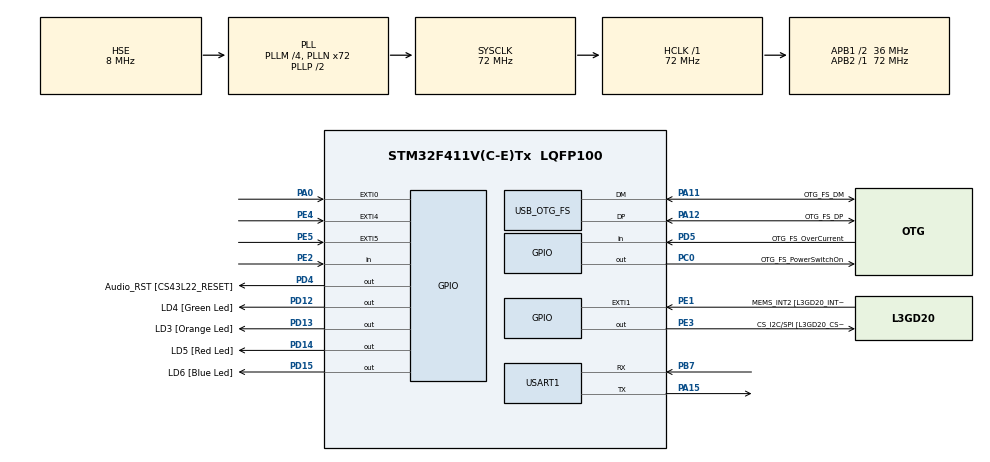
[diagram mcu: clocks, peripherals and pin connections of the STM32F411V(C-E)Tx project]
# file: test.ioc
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Mcu.Family=STM32F4
PD12.GPIO_Label=LD4 [Green Led]
USB_DEVICE.CLASS_NAME_FS=CDC
RCC.CortexFreq_Value=72000000
PC10.GPIO_PuPd=GPIO_NOPULL
PB6.GPIO_Mode=GPIO_MODE_AF_OD
PD15.GPIO_Speed=GPIO_SPEED_FREQ_LOW
PC10.Signal=I2S3_CK
PC12.Signal=I2S3_SD
PA14.GPIO_Label=SWCLK
PC0.GPIO_Label=OTG_FS_PowerSwitchOn
PA11.Mode=Device_Only
PA6.GPIO_Label=SPI1_MISO [L3GD20_AS0/SDO]
PB6.GPIO_Label=Audio_SCL [CS43L22_SCL]
PC10.GPIO_Speed=GPIO_SPEED_FREQ_LOW
PC15-OSC32_OUT.GPIO_Label=PC15-OSC32_OUT
RCC.SYSCLKSource=RCC_SYSCLKSOURCE_PLLCLK
ProjectManager.StackSize=0x400
VP_FREERTOS_VS_CMSIS_V2.Mode=CMSIS_V2
PD13.Signal=GPIO_Output
PD14.GPIO_Speed=GPIO_SPEED_FREQ_LOW
PA12.Signal=USB_OTG_FS_DP
PH0\ -\ OSC_IN.Signal=RCC_OSC_IN
RCC.HCLKFreq_Value=72000000
PD4.Signal=GPIO_Output
RCC.APB2TimFreq_Value=72000000
PB6.Signal=I2C1_SCL
PC7.Signal=I2S3_MCK
PC3.Signal=I2S2_SD
PE5.Signal=GPXTI5
PE1.Signal=GPXTI1
RCC.AHBFreq_Value=72000000
NVIC.TIM1_TRG_COM_TIM11_IRQn=true\:0\:0\:false\:false\:true\:false\:false\:true
RCC.HSE_VALUE=8000000
PA4.GPIO_PuPd=GPIO_NOPULL
PA15.Mode=Asynchronous
PA4.GPIO_Speed=GPIO_SPEED_FREQ_LOW
PA14.Mode=Serial_Wire
PA10.GPIO_Label=OTG_FS_ID
PC7.GPIO_Mode=GPIO_MODE_AF_PP
PE2.Signal=GPIO_Input
PB7.Signal=USART1_RX
PD14.GPIO_PuPd=GPIO_NOPULL
PE4.Signal=GPXTI4
PD13.GPIO_Label=LD3 [Orange Led]
Mcu.Package=LQFP100
PB9.Signal=I2C1_SDA
PA6.Signal=SPI1_MISO
NVIC.TimeBase=TIM1_TRG_COM_TIM11_IRQn
PD12.Signal=GPIO_Output
PD5.GPIO_Label=OTG_FS_OverCurrent
NVIC.OTG_FS_IRQn=true\:5\:0\:false\:false\:true\:true\:false\:true
PD15.GPIO_PuPd=GPIO_NOPULL
NVIC.TimeBaseIP=TIM11
PA10.Signal=USB_OTG_FS_ID
PB9.GPIO_PuPd=GPIO_NOPULL
USB_OTG_FS.VirtualMode=Device_Only
PA15.Signal=USART1_TX
PB9.GPIO_Speed=GPIO_SPEED_FREQ_LOW
RCC.APB1TimFreq_Value=72000000
PC14-OSC32_IN.GPIO_Label=PC14-OSC32_IN
PC12.GPIO_PuPd=GPIO_NOPULL
PA4.GPIO_Label=I2S3_WS [CS43L22_LRCK]
PD15.Signal=GPIO_Output
PC0.PinState=GPIO_PIN_SET
PB3.GPIO_Label=SWO
PD12.GPIO_Speed=GPIO_SPEED_FREQ_LOW
FREERTOS.Tasks01=defaultTask,24,128,StartDefaultTask,Default,NULL,Dynamic,NULL,NULL
PD15.GPIO_Label=LD6 [Blue Led]
PB9.GPIO_Label=Audio_SDA [CS43L22_SDA]
PC10.GPIO_Label=I2S3_SCK [CS43L22_SCLK]
USB_DEVICE.VirtualModeFS=Cdc_FS
PA9.GPIO_Label=VBUS_FS
PB6.GPIO_PuPd=GPIO_NOPULL
PH1\ -\ OSC_OUT.Mode=HSE-External-Oscillator
PE4.GPIO_ModeDefaultEXTI=GPIO_MODE_EVT_RISING
PA11.GPIO_Label=OTG_FS_DM
PD5.Signal=GPIO_Input
PC0.Signal=GPIO_Output
PE1.GPIO_ModeDefaultEXTI=GPIO_MODE_EVT_RISING
RCC.APB1CLKDivider=RCC_HCLK_DIV2
PC14-OSC32_IN.Signal=RCC_OSC32_IN
PA0-WKUP.GPIO_ModeDefaultEXTI=GPIO_MODE_IT_RISING_FALLING
PA12.GPIO_Label=OTG_FS_DP
PA0-WKUP.Signal=GPXTI0
PA13.Signal=SYS_JTMS-SWDIO
PC10.GPIO_Mode=GPIO_MODE_AF_PP
PH0\ -\ OSC_IN.Mode=HSE-External-Oscillator
ProjectManager.TargetToolchain=STM32CubeIDE
PE5.GPIO_ModeDefaultEXTI=GPIO_MODE_EVT_RISING
PB10.GPIO_Label=CLK_IN [MP45DT02_CLK]
VP_USB_DEVICE_VS_USB_DEVICE_CDC_FS.Mode=CDC_FS
PA9.Signal=USB_OTG_FS_VBUS
PC7.GPIO_PuPd=GPIO_NOPULL
RCC.LSE_VALUE=32768
PC15-OSC32_OUT.Signal=RCC_OSC32_OUT
PB10.Signal=I2S2_CK
PA5.Signal=SPI1_SCK
PH1\ -\ OSC_OUT.Signal=RCC_OSC_OUT
board=STM32F411E-DISCO
PD13.GPIO_Speed=GPIO_SPEED_FREQ_LOW
PC7.GPIO_Speed=GPIO_SPEED_FREQ_LOW
RCC.VCOOutputFreq_Value=144000000
PE1.GPIO_Label=MEMS_INT2 [L3GD20_INT2]
PB9.GPIO_Mode=GPIO_MODE_AF_OD
PA4.GPIO_Mode=GPIO_MODE_AF_PP
RCC.APB2Freq_Value=72000000
PD4.GPIO_Label=Audio_RST [CS43L22_RESET]
PD13.GPIO_PuPd=GPIO_NOPULL
PD14.GPIO_Label=LD5 [Red Led]
PA13.Mode=Serial_Wire
Mcu.Name=STM32F411V(C-E)Tx
VP_SYS_VS_tim11.Mode=TIM11
PA13.GPIO_Label=SWDIO
PC7.GPIO_Label=I2S3_MCK [CS43L22_MCLK]
PD14.Signal=GPIO_Output
PH1\ -\ OSC_OUT.GPIO_Label=PH1-OSC_OUT
RCC.48MHZClocksFreq_Value=48000000
PB3.Signal=SYS_JTDO-SWO
NVIC.EXTI0_IRQn=true\:5\:0\:false\:false\:true\:true\:true\:true
PA4.Signal=I2S3_WS
RCC.SYSCLKFreq_VALUE=72000000
PC12.GPIO_Mode=GPIO_MODE_AF_PP
PA7.GPIO_Label=SPI1_MOSI [L3GD20_SDA/SDI/SDO]
PA12.Mode=Device_Only
PA5.GPIO_Label=SPI1_SCK [L3GD20_SC/SPC]
PC12.GPIO_Label=I2S3_SD [CS43L22_SDIN]
USART1.VirtualMode=VM_ASYNC
PA11.Signal=USB_OTG_FS_DM
PB7.Mode=Asynchronous
PA14.Signal=SYS_JTCK-SWCLK
ProjectManager.HeapSize=0x200
RCC.HSI_VALUE=16000000
RCC.PLLQ=3
NVIC.PriorityGroup=NVIC_PRIORITYGROUP_4
RCC.PLLM=4
RCC.PLLN=72
PE3.Signal=GPIO_Output
PE3.GPIO_Label=CS_I2C/SPI [L3GD20_CS_I2C/SPI]
PC3.GPIO_Label=PDM_OUT [MP45DT02_DOUT]
PH0\ -\ OSC_IN.GPIO_Label=PH0-OSC_IN
PB6.GPIO_Speed=GPIO_SPEED_FREQ_LOW
RCC.APB1Freq_Value=36000000
PC12.GPIO_Speed=GPIO_SPEED_FREQ_LOW
USB_DEVICE.VirtualMode=Cdc
RCC.PLLI2SN=200
PB12.Signal=I2S2_WS
PD12.GPIO_PuPd=GPIO_NOPULL
RCC.PLLI2SM=5
PA7.Signal=SPI1_MOSI

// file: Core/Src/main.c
/* USER CODE BEGIN Header */

/*
  */
/* USER CODE END Header */
#include "main.h"
#include "cmsis_os.h"
#include "usb_device.h"

/* USER CODE BEGIN Includes */
#include <stdio.h>
#include <stdlib.h>
#include "FreeRTOS.h"
#include "queue.h"
#include "timers.h"
#include "string.h"
#include "task.h"
#include "usbd_cdc_if.h"
#include "stm32f411e_discovery.h"
#include "morse.h"

/* USER CODE END Includes */

UART_HandleTypeDef huart1;

/* Definitions for task_1 */
osThreadId_t task_1Handle;
const osThreadAttr_t task_1_attributes = {
  .name = "task_1",
  .priority = (osPriority_t) osPriorityHigh,
  .stack_size = 1024 * 4
};
/* Definitions for task_2 */
osThreadId_t task_2Handle;
const osThreadAttr_t task_2_attributes = {
  .name = "task_2",
  .priority = (osPriority_t) osPriorityHigh,
  .stack_size = 1024 * 4
};
/* Definitions for task_3 */
osThreadId_t task_3Handle;
const osThreadAttr_t task_3_attributes = {
  .name = "task_3",
  .priority = (osPriority_t) osPriorityHigh,
  .stack_size = 512 * 4
};
/* Definitions for task_4 */
osThreadId_t task_4Handle;
const osThreadAttr_t task_4_attributes = {
  .name = "task_4",
  .priority = (osPriority_t) osPriorityHigh,
  .stack_size = 512 * 4
};

osThreadId_t uartRxHandle;
const osThreadAttr_t uartrx_attributes = {
  .name = "uartrx",
  .priority = (osPriority_t) osPriorityHigh,
  .stack_size = 128
};

/* Definitions for queue_1 */
osMessageQueueId_t queue_1Handle;
const osMessageQueueAttr_t queue_1_attributes = {
  .name = "queue_1"
};
/* Definitions for queue_2_1 */
osMessageQueueId_t queue_2_1Handle;
const osMessageQueueAttr_t queue_2_1_attributes = {
  .name = "queue_2_1"
};
/* Definitions for queue_2_2 */
osMessageQueueId_t queue_2_2Handle;
const osMessageQueueAttr_t queue_2_2_attributes = {
  .name = "queue_2_2"
};

/* USER CODE BEGIN PV */
uint32_t time;
uint32_t prev_time;
/* USER CODE BEGIN PV */
/* USER CODE END PV */

uint8_t done = 0;

void SystemClock_Config(void);
static void MX_GPIO_Init(void);
static void MX_USART1_UART_Init(void);
void StartDefaultTask(void *argument);

/* USER CODE BEGIN PFP */
void StartDefaultTask(void *argument);
void StartTask02(void *argument);
void StartTask03(void *argument);
void StartTask04(void *argument);
void UARTTask(void *argument);
void UART_transmit(uint8_t *buff, uint16_t len);
/* USER CODE END PFP */

/* USER CODE BEGIN 0 */
int _write(int file, char *ptr, int len)
{
	int i =0;
	taskENTER_CRITICAL();
	for(i=0;i<len;i++)
		ITM_SendChar((*ptr++));
	taskEXIT_CRITICAL();
	return len;
}
/* USER CODE END 0 */

int main(void)
{

  /* MCU Configuration--------------------------------------------------------*/

  /* Reset of all peripherals, Initializes the Flash interface and the Systick. */
  HAL_Init();

  /* Configure the system clock */
  SystemClock_Config();

  /* Initialize all configured peripherals */
  MX_GPIO_Init();
  BSP_LED_Init(LED3);
  BSP_LED_Init(LED4);
  BSP_LED_Init(LED5);
  BSP_LED_Init(LED6);
  MX_USART1_UART_Init();

  /* Init scheduler */
  osKernelInitialize();

  /* Create the queue(s) */
  /* creation of queue_1 */
  queue_1Handle = osMessageQueueNew (100, sizeof(uint8_t), &queue_1_attributes);

  /* creation of queue_2_1 */
  queue_2_1Handle = osMessageQueueNew (100, sizeof(uint8_t), &queue_2_1_attributes);

  /* creation of queue_2_2 */
  queue_2_2Handle = osMessageQueueNew (100, sizeof(uint8_t), &queue_2_2_attributes);

  /* Create the thread(s) */
  /* creation of task_1 */
  task_1Handle = osThreadNew(StartDefaultTask, NULL, &task_1_attributes);

  /* creation of task_2 */
  task_2Handle = osThreadNew(StartTask02, NULL, &task_2_attributes);

  /* creation of task_3 */
  task_3Handle = osThreadNew(StartTask03, NULL, &task_3_attributes);

  /* creation of task_4 */
  task_4Handle = osThreadNew(StartTask04, NULL, &task_4_attributes);

  uartRxHandle = osThreadNew(UARTTask, NULL, &uartrx_attributes);

  /* Start scheduler */
  osKernelStart();

  /* We should never get here as control is now taken by the scheduler */
  /* Infinite loop */
  while (1)
  {

  }
}

void ledMorseCode(MORSELED status)
{
	if (status == ON){
		BSP_LED_On(LED4);
		//BSP_LED_On(LED5);
		//BSP_LED_On(LED6);
	}else{
		BSP_LED_Off(LED4);
		//BSP_LED_Off(LED5);
		//BSP_LED_Off(LED6);
	}
}

void UARTTask(void *argument)
{
	uint8_t ch;

	while(1){
		if(HAL_UART_Receive(&huart1, (uint8_t *)&ch, 1, 0xFFFF) == HAL_OK){
		   CDC_Transmit_FS(&ch,  1);

		   // Check for uppercase letters
		  if (ch >= 'A' && ch <= 'Z') {
			flash_morse_code(letters[ch - 'A']);
		  }
		  // Check for lowercase letters
		  else  if (ch >= 'a' && ch <= 'z') {
			flash_morse_code(letters[ch - 'a']);
		  }
		  // Check for numbers
		  else if (ch >= '0' && ch <= '9') {
			flash_morse_code(numbers[ch - '0']);
		  }
		  // Check for space between words
		  else if (ch == ' ') {
			// Put space between two words in a message...equal to seven dots
			osDelay(dot_duration * 7);
		  }
		  // Check for sentinel value
		  else if (ch == '!') {
			done = 1;
		  }
		}
	    osDelay(100);
	}
}
void SystemClock_Config(void)
{
  RCC_OscInitTypeDef RCC_OscInitStruct = {0};
  RCC_ClkInitTypeDef RCC_ClkInitStruct = {0};

  /** Configure the main internal regulator output voltage
  */
  __HAL_RCC_PWR_CLK_ENABLE();
  __HAL_PWR_VOLTAGESCALING_CONFIG(PWR_REGULATOR_VOLTAGE_SCALE1);
  /** Initializes the RCC Oscillators according to the specified parameters
  * in the RCC_OscInitTypeDef structure.
  */
  RCC_OscInitStruct.OscillatorType = RCC_OSCILLATORTYPE_HSE;
  RCC_OscInitStruct.HSEState = RCC_HSE_ON;
  RCC_OscInitStruct.PLL.PLLState = RCC_PLL_ON;
  RCC_OscInitStruct.PLL.PLLSource = RCC_PLLSOURCE_HSE;
  RCC_OscInitStruct.PLL.PLLM = 4;
  RCC_OscInitStruct.PLL.PLLN = 72;
  RCC_OscInitStruct.PLL.PLLP = RCC_PLLP_DIV2;
  RCC_OscInitStruct.PLL.PLLQ = 3;
  if (HAL_RCC_OscConfig(&RCC_OscInitStruct) != HAL_OK)
  {
    Error_Handler();
  }
  /** Initializes the CPU, AHB and APB buses clocks
  */
  RCC_ClkInitStruct.ClockType = RCC_CLOCKTYPE_HCLK|RCC_CLOCKTYPE_SYSCLK
                              |RCC_CLOCKTYPE_PCLK1|RCC_CLOCKTYPE_PCLK2;
  RCC_ClkInitStruct.SYSCLKSource = RCC_SYSCLKSOURCE_PLLCLK;
  RCC_ClkInitStruct.AHBCLKDivider = RCC_SYSCLK_DIV1;
  RCC_ClkInitStruct.APB1CLKDivider = RCC_HCLK_DIV2;
  RCC_ClkInitStruct.APB2CLKDivider = RCC_HCLK_DIV1;

  if (HAL_RCC_ClockConfig(&RCC_ClkInitStruct, FLASH_LATENCY_2) != HAL_OK)
  {
    Error_Handler();
  }
}

static void MX_USART1_UART_Init(void)
{

  huart1.Instance = USART1;
  huart1.Init.BaudRate = 9600;
  huart1.Init.WordLength = UART_WORDLENGTH_8B;
  huart1.Init.StopBits = UART_STOPBITS_1;
  huart1.Init.Parity = UART_PARITY_NONE;
  huart1.Init.Mode = UART_MODE_TX_RX;
  huart1.Init.HwFlowCtl = UART_HWCONTROL_NONE;
  huart1.Init.OverSampling = UART_OVERSAMPLING_16;
  if (HAL_UART_Init(&huart1) != HAL_OK)
  {
    Error_Handler();
  }

}

static void MX_GPIO_Init(void)
{
  GPIO_InitTypeDef GPIO_InitStruct = {0};

  /* GPIO Ports Clock Enable */
  __HAL_RCC_GPIOE_CLK_ENABLE();
  __HAL_RCC_GPIOC_CLK_ENABLE();
  __HAL_RCC_GPIOH_CLK_ENABLE();
  __HAL_RCC_GPIOA_CLK_ENABLE();
  __HAL_RCC_GPIOB_CLK_ENABLE();
  __HAL_RCC_GPIOD_CLK_ENABLE();

  /*Configure GPIO pin Output Level */
  HAL_GPIO_WritePin(CS_I2C_SPI_GPIO_Port, CS_I2C_SPI_Pin, GPIO_PIN_RESET);

  /*Configure GPIO pin Output Level */
  HAL_GPIO_WritePin(OTG_FS_PowerSwitchOn_GPIO_Port, OTG_FS_PowerSwitchOn_Pin, GPIO_PIN_SET);

  /*Configure GPIO pin Output Level */
  HAL_GPIO_WritePin(GPIOD, LD4_Pin|LD3_Pin|LD5_Pin|LD6_Pin
                          |Audio_RST_Pin, GPIO_PIN_RESET);

  /*Configure GPIO pin : PE2 */
  GPIO_InitStruct.Pin = GPIO_PIN_2;
  GPIO_InitStruct.Mode = GPIO_MODE_INPUT;
  GPIO_InitStruct.Pull = GPIO_NOPULL;
  HAL_GPIO_Init(GPIOE, &GPIO_InitStruct);

  /*Configure GPIO pin : CS_I2C_SPI_Pin */
  GPIO_InitStruct.Pin = CS_I2C_SPI_Pin;
  GPIO_InitStruct.Mode = GPIO_MODE_OUTPUT_PP;
  GPIO_InitStruct.Pull = GPIO_NOPULL;
  GPIO_InitStruct.Speed = GPIO_SPEED_FREQ_LOW;
  HAL_GPIO_Init(CS_I2C_SPI_GPIO_Port, &GPIO_InitStruct);

  /*Configure GPIO pins : PE4 PE5 MEMS_INT2_Pin */
  GPIO_InitStruct.Pin = GPIO_PIN_4|GPIO_PIN_5|MEMS_INT2_Pin;
  GPIO_InitStruct.Mode = GPIO_MODE_EVT_RISING;
  GPIO_InitStruct.Pull = GPIO_NOPULL;
  HAL_GPIO_Init(GPIOE, &GPIO_InitStruct);

  /*Configure GPIO pin : OTG_FS_PowerSwitchOn_Pin */
  GPIO_InitStruct.Pin = OTG_FS_PowerSwitchOn_Pin;
  GPIO_InitStruct.Mode = GPIO_MODE_OUTPUT_PP;
  GPIO_InitStruct.Pull = GPIO_NOPULL;
  GPIO_InitStruct.Speed = GPIO_SPEED_FREQ_LOW;
  HAL_GPIO_Init(OTG_FS_PowerSwitchOn_GPIO_Port, &GPIO_InitStruct);

  /*Configure GPIO pin : PDM_OUT_Pin */
  GPIO_InitStruct.Pin = PDM_OUT_Pin;
  GPIO_InitStruct.Mode = GPIO_MODE_AF_PP;
  GPIO_InitStruct.Pull = GPIO_NOPULL;
  GPIO_InitStruct.Speed = GPIO_SPEED_FREQ_LOW;
  GPIO_InitStruct.Alternate = GPIO_AF5_SPI2;
  HAL_GPIO_Init(PDM_OUT_GPIO_Port, &GPIO_InitStruct);

  /*Configure GPIO pin : PA0 */
  GPIO_InitStruct.Pin = GPIO_PIN_0;
  GPIO_InitStruct.Mode = GPIO_MODE_IT_RISING_FALLING;
  GPIO_InitStruct.Pull = GPIO_NOPULL;
  HAL_GPIO_Init(GPIOA, &GPIO_InitStruct);

  /*Configure GPIO pin : I2S3_WS_Pin */
  GPIO_InitStruct.Pin = I2S3_WS_Pin;
  GPIO_InitStruct.Mode = GPIO_MODE_AF_PP;
  GPIO_InitStruct.Pull = GPIO_NOPULL;
  GPIO_InitStruct.Speed = GPIO_SPEED_FREQ_LOW;
  GPIO_InitStruct.Alternate = GPIO_AF6_SPI3;
  HAL_GPIO_Init(I2S3_WS_GPIO_Port, &GPIO_InitStruct);

  /*Configure GPIO pins : SPI1_SCK_Pin SPI1_MISO_Pin SPI1_MOSI_Pin */
  GPIO_InitStruct.Pin = SPI1_SCK_Pin|SPI1_MISO_Pin|SPI1_MOSI_Pin;
  GPIO_InitStruct.Mode = GPIO_MODE_AF_PP;
  GPIO_InitStruct.Pull = GPIO_NOPULL;
  GPIO_InitStruct.Speed = GPIO_SPEED_FREQ_VERY_HIGH;
  GPIO_InitStruct.Alternate = GPIO_AF5_SPI1;
  HAL_GPIO_Init(GPIOA, &GPIO_InitStruct);

  /*Configure GPIO pins : CLK_IN_Pin PB12 */
  GPIO_InitStruct.Pin = CLK_IN_Pin|GPIO_PIN_12;
  GPIO_InitStruct.Mode = GPIO_MODE_AF_PP;
  GPIO_InitStruct.Pull = GPIO_NOPULL;
  GPIO_InitStruct.Speed = GPIO_SPEED_FREQ_LOW;
  GPIO_InitStruct.Alternate = GPIO_AF5_SPI2;
  HAL_GPIO_Init(GPIOB, &GPIO_InitStruct);

  /*Configure GPIO pins : LD4_Pin LD3_Pin LD5_Pin LD6_Pin
                           Audio_RST_Pin */
  GPIO_InitStruct.Pin = LD4_Pin|LD3_Pin|LD5_Pin|LD6_Pin
                          |Audio_RST_Pin;
  GPIO_InitStruct.Mode = GPIO_MODE_OUTPUT_PP;
  GPIO_InitStruct.Pull = GPIO_NOPULL;
  GPIO_InitStruct.Speed = GPIO_SPEED_FREQ_LOW;
  HAL_GPIO_Init(GPIOD, &GPIO_InitStruct);

  /*Configure GPIO pins : I2S3_MCK_Pin I2S3_SCK_Pin I2S3_SD_Pin */
  GPIO_InitStruct.Pin = I2S3_MCK_Pin|I2S3_SCK_Pin|I2S3_SD_Pin;
  GPIO_InitStruct.Mode = GPIO_MODE_AF_PP;
  GPIO_InitStruct.Pull = GPIO_NOPULL;
  GPIO_InitStruct.Speed = GPIO_SPEED_FREQ_LOW;
  GPIO_InitStruct.Alternate = GPIO_AF6_SPI3;
  HAL_GPIO_Init(GPIOC, &GPIO_InitStruct);

  /*Configure GPIO pin : OTG_FS_OverCurrent_Pin */
  GPIO_InitStruct.Pin = OTG_FS_OverCurrent_Pin;
  GPIO_InitStruct.Mode = GPIO_MODE_INPUT;
  GPIO_InitStruct.Pull = GPIO_NOPULL;
  HAL_GPIO_Init(OTG_FS_OverCurrent_GPIO_Port, &GPIO_InitStruct);

  /*Configure GPIO pins : Audio_SCL_Pin Audio_SDA_Pin */
  GPIO_InitStruct.Pin = Audio_SCL_Pin|Audio_SDA_Pin;
  GPIO_InitStruct.Mode = GPIO_MODE_AF_OD;
  GPIO_InitStruct.Pull = GPIO_PULLUP;
  GPIO_InitStruct.Speed = GPIO_SPEED_FREQ_LOW;
  GPIO_InitStruct.Alternate = GPIO_AF4_I2C1;
  HAL_GPIO_Init(GPIOB, &GPIO_InitStruct);

  /* EXTI interrupt init*/
  HAL_NVIC_SetPriority(EXTI0_IRQn, 5, 0);
  HAL_NVIC_EnableIRQ(EXTI0_IRQn);

}

/* USER CODE BEGIN 4 */

void UART_transmit(uint8_t *buff, uint16_t len)
{
	HAL_UART_Transmit(&huart1, buff, len, 0xFFFF);
}

/* USER CODE END 4 */

void StartDefaultTask(void *argument)
{
  /* init code for USB_DEVICE */
  MX_USB_DEVICE_Init();
  /* USER CODE BEGIN 5 */
	uint8_t val = 0;
	uint8_t i = 0;
	char buf[32];
	uint8_t init = 0;
	sprintf(buf, "\r\n");
	CDC_Transmit_FS((uint8_t *) buf, strlen(buf));
	UART_transmit((uint8_t *) buf, strlen(buf));
  /* Infinite loop */
  for(;;)
  {
	time = HAL_GetTick();
	while(HAL_GPIO_ReadPin(GPIOA, GPIO_PIN_0)) {
	  val = 1;
	  HAL_GPIO_WritePin(GPIOD, GPIO_PIN_14, SET);
	  prev_time = HAL_GetTick();
	  init = 1;

	}
	HAL_GPIO_WritePin(GPIOD, GPIO_PIN_14, RESET);
	if((HAL_GetTick() - time > 700) && val) {
	  i = 3;
	  xQueueSend(queue_1Handle, &i, portMAX_DELAY);
	} else if ((HAL_GetTick() - time > 300) && val) {
	  i = 1;
	  xQueueSend(queue_1Handle, &i, portMAX_DELAY);
	} else if ((HAL_GetTick() - time) > 100 && val) {
	  i = 0;
	  xQueueSend(queue_1Handle, &i, portMAX_DELAY);
	} else if ((HAL_GetTick() - prev_time) > 300 && (HAL_GetTick() - prev_time) < 450 && !val && init) {
	  i = 2;
	  xQueueSend(queue_1Handle, &i, portMAX_DELAY);
	}
	val = 0;
	vTaskDelay(100);
    osDelay(1);
  }
  /* USER CODE END 5 */
}

void StartTask02(void *argument)
{
  /* USER CODE BEGIN StartTask02 */
	uint8_t j = 0;
  /* Infinite loop */
  for(;;)
  {
	  if(xQueueReceive(queue_1Handle,  &j, (TickType_t) 5)) {
		  if(j == 1) {
			xQueueSend(queue_2_1Handle, &j, portMAX_DELAY);
			xQueueSend(queue_2_2Handle, &j, portMAX_DELAY);
		  } else if (j == 0) {
			xQueueSend(queue_2_1Handle, &j, portMAX_DELAY);
			xQueueSend(queue_2_2Handle, &j, portMAX_DELAY);
		  } else if (j == 2) {
			xQueueSend(queue_2_1Handle, &j, portMAX_DELAY);
			xQueueSend(queue_2_2Handle, &j, portMAX_DELAY);
		  } else {
			xQueueSend(queue_2_1Handle, &j, portMAX_DELAY);
			xQueueSend(queue_2_2Handle, &j, portMAX_DELAY);
		  }
		  vTaskDelay(200);
		}
    osDelay(1);
  }
  /* USER CODE END StartTask02 */
}

void StartTask03(void *argument)
{
  /* USER CODE BEGIN StartTask03 */
	  uint8_t buf[10];
	  uint8_t i = 0, count = 0;
	  char a[32];
	  for(uint8_t k = 0; k < 10; k++) {
		buf[k] = 5;
	  }
  /* Infinite loop */
  for(;;)
  {
	  if(xQueueReceive(queue_2_1Handle, &i, portMAX_DELAY)) {
		if(i == 2) {
		   if (count != 0) {
		  if(buf[0] == 0 && buf[1] == 1 && count == 2) {
			sprintf(a, "A");
			UART_transmit((uint8_t *) a, strlen(a));
			CDC_Transmit_FS((uint8_t *) a, strlen(a));
		  }
		  if (buf[0] == 0 && buf[1] == 0 && buf[2] == 1 && count == 3) {
			sprintf(a, "U");
			CDC_Transmit_FS((uint8_t *) a, strlen(a));
			UART_transmit((uint8_t *) a, strlen(a));
		  }
		  if(buf[0] == 1 && count == 1) {
			sprintf(a, "T");
			CDC_Transmit_FS((uint8_t *) a, strlen(a));
			UART_transmit((uint8_t *) a, strlen(a));
		  }
		  if (buf[0] == 0 && buf[1] == 1 && buf[2] == 0 && count == 3) {
			sprintf(a, "R");
			CDC_Transmit_FS((uint8_t *) a, strlen(a));
			UART_transmit((uint8_t *) a, strlen(a));
		  }
		  count = 0;
		  for(uint8_t k = 0; k < 10; k++) {
			buf[k] = 5;
		  }
		   }
		} else if (i == 3) {
		sprintf(a, " ");
		CDC_Transmit_FS((uint8_t *) a, strlen(a));
		UART_transmit((uint8_t *) a, strlen(a));
	  } else {
		  buf[count] = i;
		  count++;
		}
	  }
	  vTaskDelay(300);
    osDelay(1);
  }
  /* USER CODE END StartTask03 */
}

void StartTask04(void *argument)
{
  /* USER CODE BEGIN StartTask04 */
	  uint8_t buf[32];
	  uint8_t count = 0;
	  for(uint8_t i = 0; i <= 32; i++) {
	    buf[i] = 5;
	  }
	  uint8_t z;
  /* Infinite loop */
  for(;;)
  {
	  if(xQueueReceive(queue_2_2Handle, &z, portMAX_DELAY)) {
		if(z >= 0 && z <= 2) {
		  buf[count++] = z;
		}
		if(z == 3) {
		  count = 0;
		  for(uint8_t k = 0; buf[k] != 5 && k < 32; k++) {
			if(buf[k] == 0) {
			  HAL_GPIO_WritePin(GPIOD, GPIO_PIN_15, SET);
			  HAL_Delay(1000);
			  HAL_GPIO_WritePin(GPIOD, GPIO_PIN_15, RESET);
			} else if (buf[k] == 1) {
			  HAL_GPIO_WritePin(GPIOD, GPIO_PIN_15, SET);
			  HAL_Delay(3000);
			  HAL_GPIO_WritePin(GPIOD, GPIO_PIN_15, RESET);
			} else if(buf[k] == 2) {
			  HAL_Delay(3000);
			}
			buf[k] = 5;
		  }
		}
	  }
    osDelay(1);
  }
  /* USER CODE END StartTask04 */
}
 /**
  * @brief  Period elapsed callback in non blocking mode
  * @note   This function is called  when TIM11 interrupt took place, inside
  * HAL_TIM_IRQHandler(). It makes a direct call to HAL_IncTick() to increment
  * a global variable "uwTick" used as application time base.
  * @param  htim : TIM handle
  * @retval None
  */
void HAL_TIM_PeriodElapsedCallback(TIM_HandleTypeDef *htim)
{
  if (htim->Instance == TIM11) {
    HAL_IncTick();
  }
}

void Error_Handler(void)
{
  __disable_irq();
  while (1)
  {
  }
}

/************************ (C) COPYRIGHT STMicroelectronics *****END OF FILE****/
